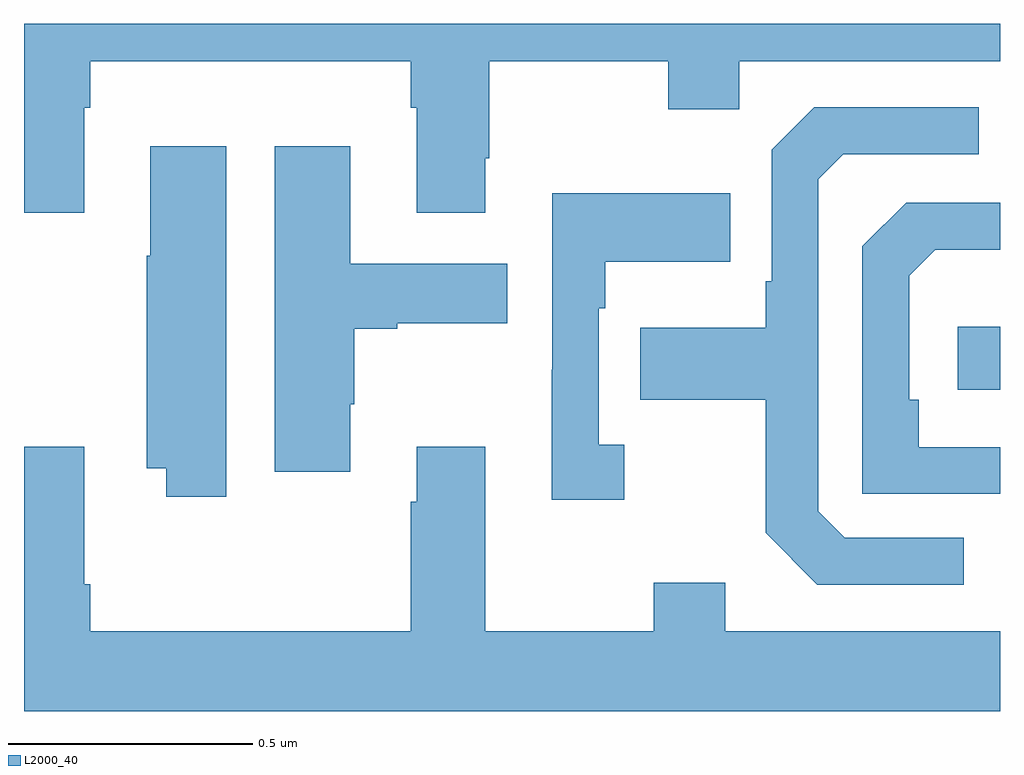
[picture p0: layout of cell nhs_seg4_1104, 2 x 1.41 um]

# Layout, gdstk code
import gdstk
lib = gdstk.Library(unit=1e-6, precision=1e-09)
def R(c, l, rs):  # rectangles x0, y0, x1, y1
    for r in rs: c.add(gdstk.rectangle(r[:2], r[2:], *l))
def P(c, l, *ps):  # polygons
    for p in ps: c.add(gdstk.Polygon(p, *l))
L2000_40 = (2000, 40)

nhs_seg4_1104 = lib.new_cell('nhs_seg4_1104')
R(nhs_seg4_1104, L2000_40, [(125.913,792.15,126,792.28)])
P(nhs_seg4_1104, L2000_40, [(124.123,792.728),(124.136,792.728),(124.136,792.824),(124.793,792.824),(124.793,792.728),(124.805,792.728),(124.805,792.513),(124.945,792.513),(124.945,792.625),(124.953,792.625),(124.953,792.824),(125.32,792.824),(125.32,792.725),(125.466,792.725),(125.466,792.824),(126,792.824),(126,792.9),(124,792.9),(124,792.513),(124.123,792.513)],
  [(125.926,791.847),(125.682,791.847),(125.628,791.901),(125.628,792.582),(125.679,792.633),(125.956,792.633),(125.956,792.729),(125.619,792.729),(125.532,792.642),(125.532,792.373),(125.52,792.373),(125.52,792.277),(125.263,792.277),(125.263,792.13),(125.52,792.13),(125.52,791.857),(125.625,791.751),(125.926,791.751)],
  [(124.669,792.121),(124.677,792.121),(124.677,792.275),(124.765,792.275),(124.765,792.287),(124.99,792.287),(124.99,792.409),(124.669,792.409),(124.669,792.649),(124.514,792.649),(124.514,791.982),(124.669,791.982)],
  [(124.414,792.649),(124.259,792.649),(124.259,792.425),(124.252,792.425),(124.252,791.99),(124.292,791.99),(124.292,791.931),(124.414,791.931)],
  [(125.23,792.038),(125.178,792.038),(125.178,792.317),(125.191,792.317),(125.191,792.413),(125.447,792.413),(125.447,792.553),(125.082,792.553),(125.082,792.191),(125.081,792.191),(125.081,791.925),(125.23,791.925)],
  [(126,792.033),(125.834,792.033),(125.834,792.13),(125.814,792.13),(125.814,792.384),(125.867,792.437),(126,792.437),(126,792.534),(125.808,792.534),(125.718,792.444),(125.718,791.937),(126,791.937)],
  [(126,791.656),(125.437,791.656),(125.437,791.755),(125.29,791.755),(125.29,791.656),(124.945,791.656),(124.945,792.034),(124.805,792.034),(124.805,791.921),(124.793,791.921),(124.793,791.656),(124.136,791.656),(124.136,791.752),(124.123,791.752),(124.123,792.034),(124,792.034),(124,791.492),(126,791.492)])

lib.write_gds('nhs_seg4_1104.gds')
